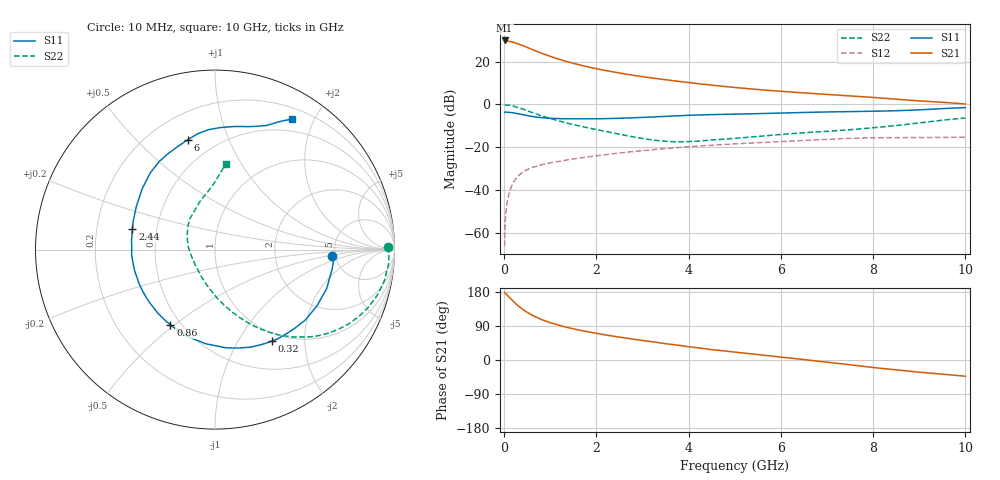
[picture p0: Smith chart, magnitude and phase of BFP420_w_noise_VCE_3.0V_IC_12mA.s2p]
! (c) 2016  Infineon Technologies AG, Munich
! Infineon Technologies  Discrete & RF Semiconductors
! BFP420
! VCE =  3.0 V,  IC =  12 mA
! Common Emitter S-Parameters:  Jan 2016
# GHz  S  MA  R  50
!  f  S11  S21  S12  S22
! GHz  MAG  ANG  MAG  ANG  MAG  ANG  MAG  ANG
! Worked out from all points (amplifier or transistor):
!   233 points, 10 MHz to 10 GHz, reference 50 ohm
!   highest |S21| = 29.8 dB at 10 MHz (marker M1)
!   |S21| within 3 dB of that: start of sweep to 470.8 MHz
!   unconditionally stable (mu >= 1): start of sweep to 11.41 MHz; 2.217 GHz to end of sweep
!   at 200 MHz: K = 0.17, MSG = 32.7 dB, |S12| = -36.4 dB
!   at 1.74 GHz: K = 0.88, MSG = 21.3 dB, |S12| = -24.7 dB
!   at 10 GHz: K = 1.08, MAG = 6.0 dB, |S12| = -15.2 dB
!   lowest NFmin = 0.95 dB at 900 MHz
!   S11 on the Smith chart (normalised r, x): 10 MHz: 4.73, -0.57; 320 MHz: 0.88, -1.41; 860 MHz: 0.44, -0.48; 2.44 GHz: 0.36, +0.11; 6 GHz: 0.35, +0.72; 10 GHz: 0.34, +1.70
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0.01  0.6551 -3.0  30.93 179.0  0.0005 93.3  0.9632 0.9
0.02  0.6653 -3.7  30.14 177.1  0.0016 87.3  0.9699 -1.9
0.1  0.6589 -19.3  29.66 166.7  0.0079 79.9  0.9592 -10.5
0.155  0.6473 -29.6  28.82 159.8  0.012 76.0  0.9366 -16.2
0.24  0.624 -44.7  27.11 149.9  0.0178 70.2  0.8891 -24.1
0.32  0.6 -58.0  25.37 141.5  0.0224 65.3  0.8358 -30.8
0.4  0.5784 -70.0  23.52 134.0  0.0263 61.3  0.7806 -36.8
0.45  0.5629 -77.1  22.38 129.7  0.0285 59.2  0.7463 -40.1
0.6  0.5267 -95.8  19.19 118.6  0.0338 54.1  0.6513 -48.4
0.7  0.5087 -106.5  17.35 112.6  0.0366 51.8  0.5964 -53.0
0.86  0.4867 -120.7  14.89 104.6  0.0405 49.2  0.5235 -58.9
1  0.4764 -131.7  13.15 98.4  0.0436 47.7  0.4699 -63.7
1.2  0.4674 -144.6  11.19 91.1  0.0477 46.3  0.4088 -69.4
1.4  0.4639 -155.3  9.682 85.0  0.0517 45.4  0.3607 -74.7
1.68  0.4629 -167.7  8.111 77.7  0.0573 44.3  0.3072 -81.5
2.44  0.474 166.1  5.523 61.5  0.0728 40.6  0.2077 -101.4
3.4  0.5216 142.2  3.872 44.9  0.0918 34.4  0.1414 -138.2
5.1  0.5971 115.0  2.426 19.5  0.1223 21.4  0.1657 158.3
6  0.6306 103.9  2.022 7.7  0.1366 14.5  0.2005 138.8
6.8  0.662 95.2  1.768 -3.0  0.1504 7.6  0.2292 124.6
8.4  0.7089 75.1  1.348 -25.1  0.1684 -9.2  0.3141 99.1
10  0.8432 59.6  1.022 -42.9  0.1728 -20.9  0.4833 82.6
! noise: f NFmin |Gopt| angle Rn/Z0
0.9  0.95  0.03  -151  0.13
1.8  1.27  0.13  -152  0.12
2.4  1.38  0.13  -160  0.14
3  1.43  0.22  -145  0.13
4  1.58  0.35  -123  0.17
5  2.03  0.43  -103  0.28
6  2.4  0.47  -91  0.43
